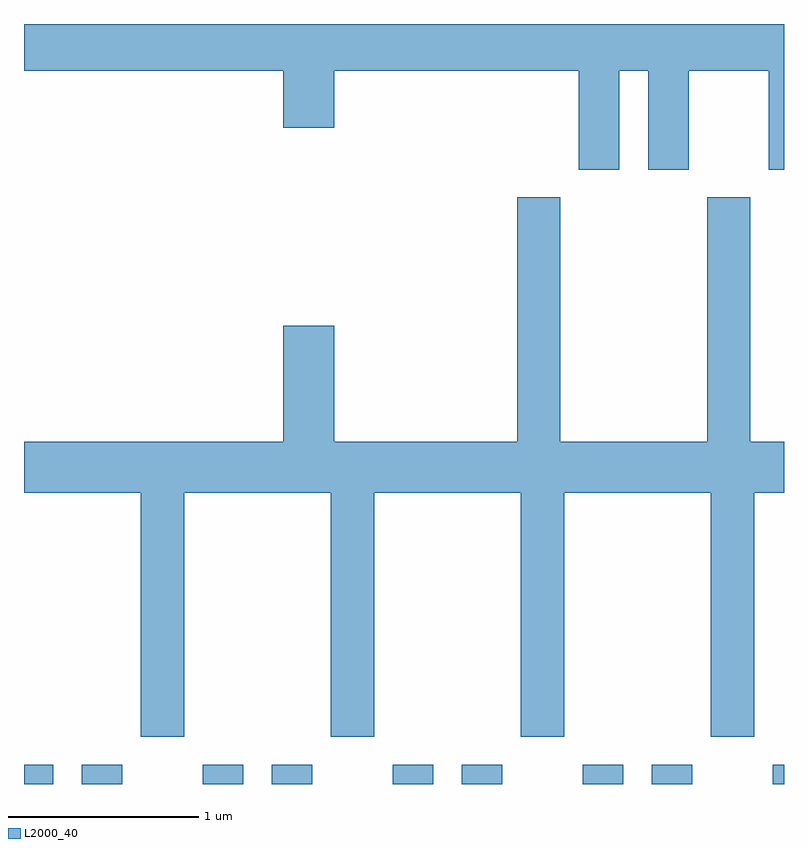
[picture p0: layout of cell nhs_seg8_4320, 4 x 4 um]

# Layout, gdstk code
import gdstk
lib = gdstk.Library(unit=1e-6, precision=1e-09)
def R(c, l, rs):  # rectangles x0, y0, x1, y1
    for r in rs: c.add(gdstk.rectangle(r[:2], r[2:], *l))
def P(c, l, *ps):  # polygons
    for p in ps: c.add(gdstk.Polygon(p, *l))
L2000_40 = (2000, 40)

nhs_seg8_4320 = lib.new_cell('nhs_seg8_4320')
R(nhs_seg8_4320, L2000_40, [(313.611,1930.342,313.764,1930.444), (313.916,1930.342,314.129,1930.444), (314.551,1930.342,314.764,1930.444), (314.916,1930.342,315.129,1930.444), (315.551,1930.342,315.764,1930.444), (315.916,1930.342,316.129,1930.444), (316.551,1930.342,316.764,1930.444), (316.916,1930.342,317.129,1930.444), (317.551,1930.342,317.611,1930.444)])
P(nhs_seg8_4320, L2000_40, [(316.744,1934.096),(316.896,1934.096),(316.896,1933.576),(317.109,1933.576),(317.109,1934.096),(317.531,1934.096),(317.531,1933.576),(317.611,1933.576),(317.611,1934.342),(313.611,1934.342),(313.611,1934.096),(314.976,1934.096),(314.976,1933.796),(315.244,1933.796),(315.244,1934.096),(316.531,1934.096),(316.531,1933.576),(316.744,1933.576)],
  [(314.454,1931.876),(315.226,1931.876),(315.226,1930.591),(315.454,1930.591),(315.454,1931.876),(316.226,1931.876),(316.226,1930.591),(316.454,1930.591),(316.454,1931.876),(317.226,1931.876),(317.226,1930.591),(317.454,1930.591),(317.454,1931.876),(317.611,1931.876),(317.611,1932.144),(317.434,1932.144),(317.434,1933.429),(317.206,1933.429),(317.206,1932.144),(316.434,1932.144),(316.434,1933.429),(316.206,1933.429),(316.206,1932.144),(315.244,1932.144),(315.244,1932.754),(314.976,1932.754),(314.976,1932.144),(313.611,1932.144),(313.611,1931.876),(314.226,1931.876),(314.226,1930.591),(314.454,1930.591)])

lib.write_gds('nhs_seg8_4320.gds')
